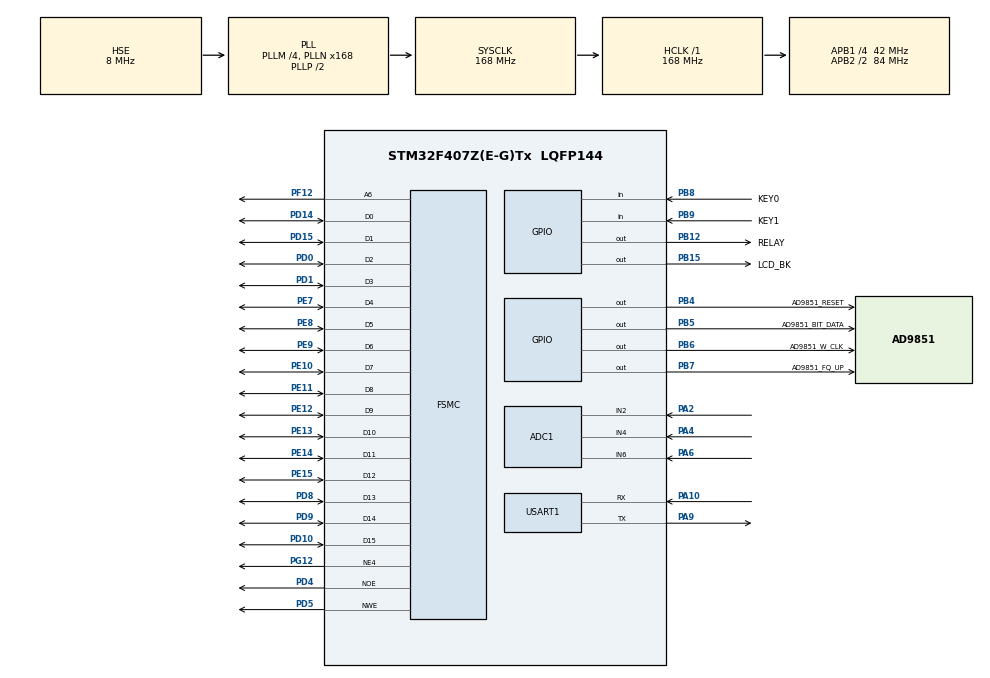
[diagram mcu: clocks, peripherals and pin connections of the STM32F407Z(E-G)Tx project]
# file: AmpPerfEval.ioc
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ADC1.Channel-0\#ChannelRegularConversion=ADC_CHANNEL_2
ADC1.Channel-1\#ChannelInjectedConversion=ADC_CHANNEL_2
ADC1.Channel-2\#ChannelInjectedConversion=ADC_CHANNEL_2
ADC1.Channel-3\#ChannelInjectedConversion=ADC_CHANNEL_2
ADC1.Channel-4\#ChannelRegularConversion=ADC_CHANNEL_4
ADC1.Channel-5\#ChannelRegularConversion=ADC_CHANNEL_6
ADC1.ContinuousConvMode=DISABLE
ADC1.DMAContinuousRequests=ENABLE
ADC1.ExternalTrigConv=ADC_EXTERNALTRIGCONV_T2_TRGO
ADC1.InjNumberOfConversion=3
ADC1.InjectedOffset-1\#ChannelInjectedConversion=0
ADC1.InjectedOffset-2\#ChannelInjectedConversion=0
ADC1.InjectedOffset-3\#ChannelInjectedConversion=0
ADC1.InjectedRank-1\#ChannelInjectedConversion=1
ADC1.InjectedRank-2\#ChannelInjectedConversion=2
ADC1.InjectedRank-3\#ChannelInjectedConversion=3
ADC1.NbrOfConversion=3
ADC1.NbrOfConversionFlag=1
ADC1.Rank-0\#ChannelRegularConversion=1
ADC1.Rank-4\#ChannelRegularConversion=2
ADC1.Rank-5\#ChannelRegularConversion=3
ADC1.SamplingTime-0\#ChannelRegularConversion=ADC_SAMPLETIME_3CYCLES
ADC1.SamplingTime-1\#ChannelInjectedConversion=ADC_SAMPLETIME_3CYCLES
ADC1.SamplingTime-2\#ChannelInjectedConversion=ADC_SAMPLETIME_3CYCLES
ADC1.SamplingTime-3\#ChannelInjectedConversion=ADC_SAMPLETIME_3CYCLES
ADC1.SamplingTime-4\#ChannelRegularConversion=ADC_SAMPLETIME_3CYCLES
ADC1.SamplingTime-5\#ChannelRegularConversion=ADC_SAMPLETIME_3CYCLES
ADC1.master=1
Dma.ADC1.0.Direction=DMA_PERIPH_TO_MEMORY
Dma.ADC1.0.FIFOMode=DMA_FIFOMODE_DISABLE
Dma.ADC1.0.Instance=DMA2_Stream0
Dma.ADC1.0.MemDataAlignment=DMA_MDATAALIGN_HALFWORD
Dma.ADC1.0.MemInc=DMA_MINC_ENABLE
Dma.ADC1.0.Mode=DMA_NORMAL
Dma.ADC1.0.PeriphDataAlignment=DMA_PDATAALIGN_HALFWORD
Dma.ADC1.0.PeriphInc=DMA_PINC_DISABLE
Dma.ADC1.0.Priority=DMA_PRIORITY_VERY_HIGH
Dma.Request0=ADC1
FSMC.BusTurnAroundDuration1=0
FSMC.DataSetupTime1=24
Mcu.Family=STM32F4
Mcu.Name=STM32F407Z(E-G)Tx
Mcu.Package=LQFP144
NVIC.DMA2_Stream0_IRQn=true\:0\:0\:false\:false\:true\:false\:true\:true
NVIC.PriorityGroup=NVIC_PRIORITYGROUP_4
NVIC.USART1_IRQn=true\:0\:0\:false\:false\:true\:true\:true\:true
PA10.Mode=Asynchronous
PA10.Signal=USART1_RX
PA13.Mode=Serial_Wire
PA13.Signal=SYS_JTMS-SWDIO
PA14.Mode=Serial_Wire
PA14.Signal=SYS_JTCK-SWCLK
PA2.Signal=ADCx_IN2
PA4.Signal=ADCx_IN4
PA6.Signal=ADCx_IN6
PA9.Mode=Asynchronous
PA9.Signal=USART1_TX
PB12.GPIO_Label=RELAY
PB12.GPIO_Speed=GPIO_SPEED_FREQ_HIGH
PB12.Signal=GPIO_Output
PB15.GPIO_Label=LCD_BK
PB15.Signal=GPIO_Output
PB4.GPIO_Label=AD9851_RESET
PB4.GPIO_Speed=GPIO_SPEED_FREQ_HIGH
PB4.Signal=GPIO_Output
PB5.GPIO_Label=AD9851_BIT_DATA
PB5.GPIO_Speed=GPIO_SPEED_FREQ_HIGH
PB5.Signal=GPIO_Output
PB6.GPIO_Label=AD9851_W_CLK
PB6.GPIO_Speed=GPIO_SPEED_FREQ_HIGH
PB6.Signal=GPIO_Output
PB7.GPIO_Label=AD9851_FQ_UP
PB7.GPIO_Speed=GPIO_SPEED_FREQ_HIGH
PB7.Signal=GPIO_Output
PB8.GPIO_Label=KEY0
PB8.GPIO_PuPd=GPIO_PULLUP
PB8.Signal=GPIO_Input
PB9.GPIO_Label=KEY1
PB9.GPIO_PuPd=GPIO_PULLUP
PB9.Signal=GPIO_Input
PD0.Signal=FSMC_D2_DA2
PD1.Signal=FSMC_D3_DA3
PD10.Signal=FSMC_D15_DA15
PD14.Signal=FSMC_D0_DA0
PD15.Signal=FSMC_D1_DA1
PD4.Signal=FSMC_NOE
PD5.Signal=FSMC_NWE
PD8.Signal=FSMC_D13_DA13
PD9.Signal=FSMC_D14_DA14
PE10.Signal=FSMC_D7_DA7
PE11.Signal=FSMC_D8_DA8
PE12.Signal=FSMC_D9_DA9
PE13.Signal=FSMC_D10_DA10
PE14.Signal=FSMC_D11_DA11
PE15.Signal=FSMC_D12_DA12
PE7.Signal=FSMC_D4_DA4
PE8.Signal=FSMC_D5_DA5
PE9.Signal=FSMC_D6_DA6
PF12.Signal=FSMC_A6
PG12.Mode=NorPsramChipSelect4_1
PG12.Signal=FSMC_NE4
PH0-OSC_IN.Mode=HSE-External-Oscillator
PH0-OSC_IN.Signal=RCC_OSC_IN
PH1-OSC_OUT.Mode=HSE-External-Oscillator
PH1-OSC_OUT.Signal=RCC_OSC_OUT
ProjectManager.HeapSize=0x200
ProjectManager.StackSize=0x400
ProjectManager.TargetToolchain=MDK-ARM V5.27
RCC.48MHZClocksFreq_Value=84000000
RCC.AHBFreq_Value=168000000
RCC.APB1CLKDivider=RCC_HCLK_DIV4
RCC.APB1Freq_Value=42000000
RCC.APB1TimFreq_Value=84000000
RCC.APB2CLKDivider=RCC_HCLK_DIV2
RCC.APB2Freq_Value=84000000
RCC.APB2TimFreq_Value=168000000
RCC.CortexFreq_Value=168000000
RCC.HCLKFreq_Value=168000000
RCC.HSE_VALUE=8000000
RCC.HSI_VALUE=16000000
RCC.LSE_VALUE=32768
RCC.PLLM=4
RCC.PLLN=168
RCC.PLLSourceVirtual=RCC_PLLSOURCE_HSE
RCC.SYSCLKFreq_VALUE=168000000
RCC.SYSCLKSource=RCC_SYSCLKSOURCE_PLLCLK
RCC.VCOOutputFreq_Value=336000000
SH.ADCx_IN2.0=ADC1_IN2,IN2
SH.ADCx_IN4.0=ADC1_IN4,IN4
SH.ADCx_IN6.0=ADC1_IN6,IN6
SH.FSMC_A6.0=FSMC_A6,A6_1
SH.FSMC_D0_DA0.0=FSMC_D0,16b-d1
SH.FSMC_D10_DA10.0=FSMC_D10,16b-d1
SH.FSMC_D11_DA11.0=FSMC_D11,16b-d1
SH.FSMC_D12_DA12.0=FSMC_D12,16b-d1
SH.FSMC_D13_DA13.0=FSMC_D13,16b-d1
SH.FSMC_D14_DA14.0=FSMC_D14,16b-d1
SH.FSMC_D15_DA15.0=FSMC_D15,16b-d1
SH.FSMC_D1_DA1.0=FSMC_D1,16b-d1
SH.FSMC_D2_DA2.0=FSMC_D2,16b-d1
SH.FSMC_D3_DA3.0=FSMC_D3,16b-d1
SH.FSMC_D4_DA4.0=FSMC_D4,16b-d1
SH.FSMC_D5_DA5.0=FSMC_D5,16b-d1
SH.FSMC_D6_DA6.0=FSMC_D6,16b-d1
SH.FSMC_D7_DA7.0=FSMC_D7,16b-d1
SH.FSMC_D8_DA8.0=FSMC_D8,16b-d1
SH.FSMC_D9_DA9.0=FSMC_D9,16b-d1
SH.FSMC_NOE.0=FSMC_NOE,Lcd1
SH.FSMC_NWE.0=FSMC_NWE,Lcd1
STMicroelectronics.X-CUBE-ALGOBUILD.1.4.0.LibraryCcDSPOoLibraryJjDSPOoLibrary=true
TIM2.AutoReloadPreload=TIM_AUTORELOAD_PRELOAD_ENABLE
TIM2.Period=9
TIM2.Prescaler=8399
TIM2.TIM_MasterOutputTrigger=TIM_TRGO_UPDATE
USART1.VirtualMode=VM_ASYNC
VP_STMicroelectronics.X-CUBE-ALGOBUILD_VS_DSPOoLibraryJjLibrary_1.4.0_1.4.0.Mode=DSPOoLibraryJjLibrary
VP_TIM2_VS_ClockSourceINT.Mode=Internal
board=custom

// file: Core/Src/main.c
/* USER CODE BEGIN Header */
/**
  ******************************************************************************
  * @file           : main.c
  * @brief          : Main program body
  ******************************************************************************
  * @attention
  *
  * Copyright (c) 2025 STMicroelectronics.
  * All rights reserved.
  *
  * This software is licensed under terms that can be found in the LICENSE file
  * in the root directory of this software component.
  * If no LICENSE file comes with this software, it is provided AS-IS.
  *
  ******************************************************************************
  */
/* USER CODE END Header */
#include "main.h"
#include "adc.h"
#include "dma.h"
#include "tim.h"
#include "usart.h"
#include "gpio.h"
#include "fsmc.h"

/* USER CODE BEGIN Includes */
#include "./lcd/lcd.h"
#include "./data_process/sweep_freq_response.h"
#include "./key/key.h"
/* USER CODE END Includes */

/* USER CODE BEGIN PV */
// 模式控制变量
uint8_t basic_measurement = 1;      // 默认启动基本测量模式
uint8_t sweep_freq_response = 0;    // 扫频响应测量模式
uint8_t measure_R_out = 0;          // 输出阻抗测量标志
/* USER CODE END PV */

void SystemClock_Config(void);

int main(void)
{

  /* MCU Configuration--------------------------------------------------------*/

  /* Reset of all peripherals, Initializes the Flash interface and the Systick. */
  HAL_Init();

  /* Configure the system clock */
  SystemClock_Config();

  /* Initialize all configured peripherals */
  MX_GPIO_Init();
  MX_DMA_Init();
  MX_ADC1_Init();
  MX_USART1_UART_Init();
  MX_FSMC_Init();
  MX_TIM2_Init();
  /* USER CODE BEGIN 2 */
  printf("hello");
  // 初始化LCD（包含完整的FSMC和GPIO配置）
  LCD_Init();
  Key_Init();

  // 测试LCD显示
  LCD_ShowString(10, 10, 200, 16, 16, (uint8_t*)"Hello LCD!");
  AD9851_Init(AD9851_SERIAL_MODE, AD9851_FD_ENABLE);
  AD9851_Set_Frequency(1000);
  // 不在这里启动ADC+DMA+TIM，而是在需要时再启动
  // 这样可以避免不必要的资源占用
  /* USER CODE END 2 */

  /* Infinite loop */
  while (1)
  {

    /* USER CODE BEGIN 3 */
    // 按键扫描，检测按键状态并更新模式标志
    KEY_Scan();

    // 根据当前系统状态执行不同的测量模式
    if(current_system_state == BASIC_MEASUREMENT_STATE)
    {
        Basic_Measurement();
    }
    else if(current_system_state == SWEEP_FREQ_RESPONSE_STATE)
    {
        Auto_Frequency_Response_Measurement();
    }
    else if(current_system_state == FAULT_DETECTION_STATE)
    {
        Fault_Detection();
    }

    // 简单的延时，避免过快刷新
    HAL_Delay(50);
    /* USER CODE END 3 */
  }
}

void SystemClock_Config(void)
{
  RCC_OscInitTypeDef RCC_OscInitStruct = {0};
  RCC_ClkInitTypeDef RCC_ClkInitStruct = {0};

  /** Configure the main internal regulator output voltage
  */
  __HAL_RCC_PWR_CLK_ENABLE();
  __HAL_PWR_VOLTAGESCALING_CONFIG(PWR_REGULATOR_VOLTAGE_SCALE1);

  /** Initializes the RCC Oscillators according to the specified parameters
  * in the RCC_OscInitTypeDef structure.
  */
  RCC_OscInitStruct.OscillatorType = RCC_OSCILLATORTYPE_HSE;
  RCC_OscInitStruct.HSEState = RCC_HSE_ON;
  RCC_OscInitStruct.PLL.PLLState = RCC_PLL_ON;
  RCC_OscInitStruct.PLL.PLLSource = RCC_PLLSOURCE_HSE;
  RCC_OscInitStruct.PLL.PLLM = 4;
  RCC_OscInitStruct.PLL.PLLN = 168;
  RCC_OscInitStruct.PLL.PLLP = RCC_PLLP_DIV2;
  RCC_OscInitStruct.PLL.PLLQ = 4;
  if (HAL_RCC_OscConfig(&RCC_OscInitStruct) != HAL_OK)
  {
    Error_Handler();
  }

  /** Initializes the CPU, AHB and APB buses clocks
  */
  RCC_ClkInitStruct.ClockType = RCC_CLOCKTYPE_HCLK|RCC_CLOCKTYPE_SYSCLK
                              |RCC_CLOCKTYPE_PCLK1|RCC_CLOCKTYPE_PCLK2;
  RCC_ClkInitStruct.SYSCLKSource = RCC_SYSCLKSOURCE_PLLCLK;
  RCC_ClkInitStruct.AHBCLKDivider = RCC_SYSCLK_DIV1;
  RCC_ClkInitStruct.APB1CLKDivider = RCC_HCLK_DIV4;
  RCC_ClkInitStruct.APB2CLKDivider = RCC_HCLK_DIV2;

  if (HAL_RCC_ClockConfig(&RCC_ClkInitStruct, FLASH_LATENCY_5) != HAL_OK)
  {
    Error_Handler();
  }
}

void Error_Handler(void)
{
  __disable_irq();
  while (1)
  {
  }
}
